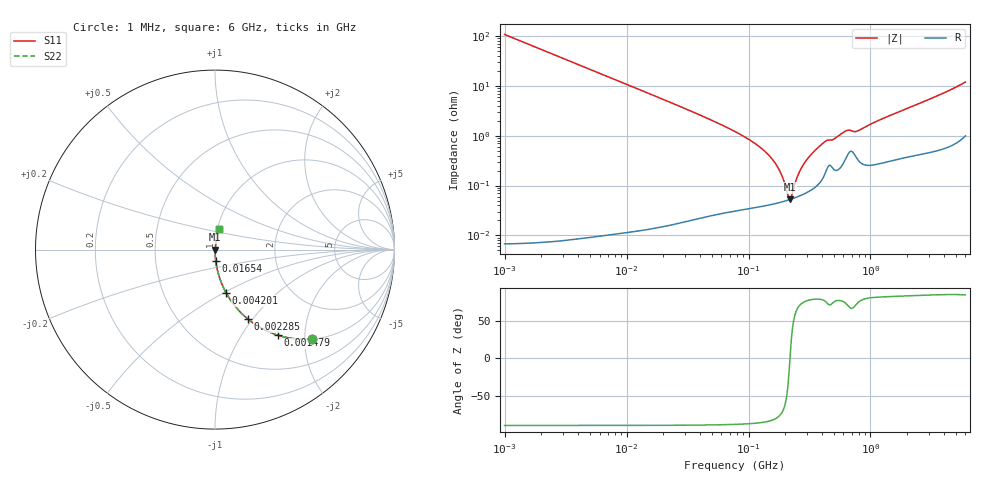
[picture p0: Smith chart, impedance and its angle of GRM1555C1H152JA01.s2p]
!Murata Part Number: GRM1555C1H152JA01
!These Parameters are Measured in Series Mode Connection
!Data Generated on Mar 30, 2021
!  o--ll--o
!Port1  Port2
!  o------o
!Operation Temp=25[degC], DC Bias Voltage=0[V]
!Freq. Start=1000[kHz] Stop=6[GHz] 401[Steps]
# Hz S RI R 50
!Freq.(Hz) S11(Real) S11(Imag) S21(Real) S21(Imag) S12(Real) S12(Imag) S22(Real) S22(Imag)
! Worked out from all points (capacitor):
!   401 points, 1 MHz to 6 GHz, reference 50 ohm
!   read as one part in series: C = 1.47 nF near 1.044 MHz
!   lowest |Z| = 52.9 mohm at 220 MHz (marker M1)
!   series resonance near 218.7 MHz, so ESL is about 360 pH
!   S11 on the Smith chart (normalised r, x): 1 MHz: 1.00, -2.16; 1.479 MHz: 1.00, -1.46; 2.285 MHz: 1.00, -0.95; 4.201 MHz: 1.00, -0.51; 16.54 MHz: 1.00, -0.13; 6 GHz: 1.02, +0.24
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1000000  0.5394 -0.4984  0.4606 0.4984  0.4606 0.4984  0.5394 -0.4984
1479166  0.3487 -0.4765  0.6513 0.4765  0.6513 0.4765  0.3487 -0.4765
2285201  0.1832 -0.3868  0.8168 0.3868  0.8168 0.3868  0.1832 -0.3868
4201409  0.0622 -0.2414  0.9378 0.2414  0.9378 0.2414  0.0622 -0.2414
4293785  0.0597 -0.2369  0.9403 0.2369  0.9403 0.2369  0.0597 -0.2369
1.653689e7  0.00434 -0.0647  0.9957 0.0647  0.9957 0.0647  0.00434 -0.0647
1.843659e7  0.00352 -0.058  0.9965 0.058  0.9965 0.058  0.00352 -0.058
7.745967e7  0.000453 -0.0121  0.9995 0.0121  0.9995 0.0121  0.000453 -0.0121
1.145757e8  0.000407 -0.00681  0.9996 0.00681  0.9996 0.00681  0.000407 -0.00681
1.520136e8  0.000426 -0.00366  0.9996 0.00366  0.9996 0.00366  0.000426 -0.00366
1.809028e8  0.00046 -0.00188  0.9995 0.00188  0.9995 0.00188  0.00046 -0.00188
2.106508e8  0.000508 -0.000371  0.9995 0.000371  0.9995 0.000371  0.000508 -0.000371
2.200158e8  0.000526 5.87e-05  0.9995 -5.87e-05  0.9995 -5.87e-05  0.000526 5.87e-05
2.248532e8  0.000535 0.000274  0.9995 -0.000274  0.9995 -0.000274  0.000535 0.000274
2.675853e8  0.000634 0.00202  0.9994 -0.00202  0.9994 -0.00202  0.000634 0.00202
3.325952e8  0.000853 0.00435  0.9991 -0.00435  0.9991 -0.00435  0.000853 0.00435
4.224887e8  0.00174 0.00738  0.9983 -0.00738  0.9983 -0.00738  0.00174 0.00738
5.027802e8  0.00215 0.00832  0.9979 -0.00832  0.9979 -0.00832  0.00215 0.00832
6.249308e8  0.00354 0.0119  0.9965 -0.0119  0.9965 -0.0119  0.00354 0.0119
7.767579e8  0.00358 0.0118  0.9964 -0.0118  0.9964 -0.0118  0.00358 0.0118
1.428092e9  0.00368 0.0248  0.9963 -0.0248  0.9963 -0.0248  0.00368 0.0248
6e9  0.0235 0.1155  0.9765 -0.1155  0.9765 -0.1155  0.0235 0.1155
